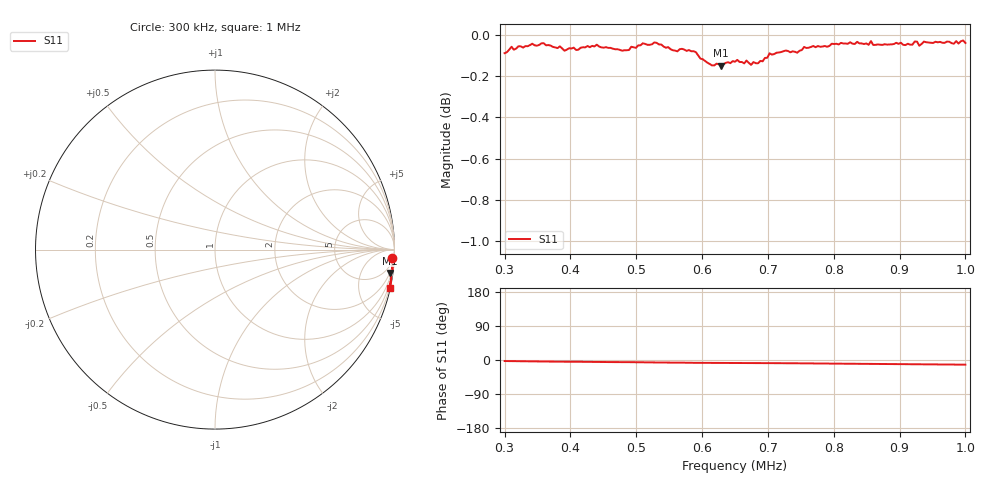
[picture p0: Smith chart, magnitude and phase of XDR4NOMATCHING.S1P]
!Agilent Technologies,E5071C,MY46100305,A.07.02
!Date: Fri Jan 01 00:28:13 1988
!Data & Calibration Information:
!Freq	S11:SOLT1(ON)
# Hz S MA R 50
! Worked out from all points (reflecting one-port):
!   201 points, 300 kHz to 1 MHz, reference 50 ohm
!   lowest |S11| = -0.1 dB at 629 kHz (marker M1), VSWR 117.16, Z = 95 - j738 ohm
!   phase of S11 starts at -3 deg and turns -10 deg over the sweep
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300000  0.9899 -2.7
310500  0.9935 -2.9
314000  0.9919 -3.0
331500  0.9939 -3.3
342000  0.9952 -3.6
387500  0.9926 -4.4
408500  0.9917 -4.6
440000  0.9947 -5.1
464500  0.9924 -5.5
475000  0.9918 -5.6
492500  0.9935 -5.7
527500  0.9959 -6.4
548500  0.9933 -6.9
562500  0.991 -7.0
590500  0.9905 -7.4
604500  0.9857 -7.6
629000  0.9831 -7.6
650000  0.9852 -7.8
667500  0.9859 -8.0
674500  0.9835 -8.0
688500  0.9857 -7.9
702500  0.9899 -8.1
730500  0.9912 -8.5
737500  0.991 -8.7
751500  0.9917 -8.7
825000  0.996 -9.9
912500  0.9952 -11.1
1000000  0.9956 -12.3
